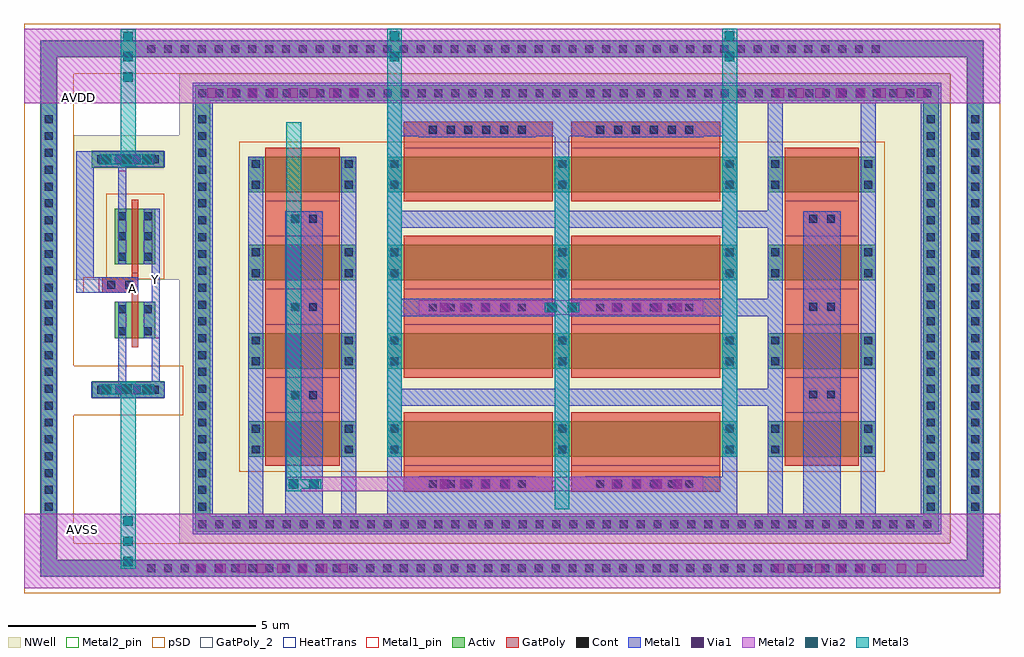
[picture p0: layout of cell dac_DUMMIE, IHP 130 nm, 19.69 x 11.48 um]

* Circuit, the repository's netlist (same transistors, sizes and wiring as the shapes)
** sch_path: /home/designer/shared/BASIC/current_generator/analog/DAC/schematics/dac_DUMMIE.sch
.subckt dac_DUMMIE AVDD AVSS
*.PININFO AVDD:B AVSS:B
MMN0 AVSS AVDD AVSS AVSS sg13_lv_nmos w=740.00n l=130.00n ng=1
MMP0 AVSS AVDD AVDD AVDD sg13_lv_pmos w=1.12u l=130.00n ng=1
MMP11 AVDD AVDD AVDD AVDD sg13_lv_pmos w=0.72u l=1.5u ng=1
MP12 AVDD AVDD AVDD AVDD sg13_lv_pmos w=0.72u l=1.5u ng=1
MP13 AVDD AVDD AVDD AVDD sg13_lv_pmos w=0.72u l=1.5u ng=1
MP14 AVDD AVDD AVDD AVDD sg13_lv_pmos w=0.72u l=1.5u ng=1
MP15 AVDD AVDD AVDD AVDD sg13_lv_pmos w=0.72u l=1.5u ng=1
MP16 AVDD AVDD AVDD AVDD sg13_lv_pmos w=0.72u l=1.5u ng=1
MP17 AVDD AVDD AVDD AVDD sg13_lv_pmos w=0.72u l=1.5u ng=1
MP18 AVDD AVDD AVDD AVDD sg13_lv_pmos w=0.72u l=1.5u ng=1
MMP51 AVDD AVDD AVDD AVDD sg13_lv_pmos w=0.72u l=3u ng=1
MP52 AVDD AVDD AVDD AVDD sg13_lv_pmos w=0.72u l=3u ng=1
MP53 AVDD AVDD AVDD AVDD sg13_lv_pmos w=0.72u l=3u ng=1
MP54 AVDD AVDD AVDD AVDD sg13_lv_pmos w=0.72u l=3u ng=1
MMP21 AVDD AVDD AVDD AVDD sg13_lv_pmos w=0.72u l=3u ng=1
MP22 AVDD AVDD AVDD AVDD sg13_lv_pmos w=0.72u l=3u ng=1
MP23 AVDD AVDD AVDD AVDD sg13_lv_pmos w=0.72u l=3u ng=1
MP24 AVDD AVDD AVDD AVDD sg13_lv_pmos w=0.72u l=3u ng=1
.ends

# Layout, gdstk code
import gdstk
lib = gdstk.Library(unit=1e-6, precision=1e-09)
def R(c, l, rs):  # rectangles x0, y0, x1, y1
    for r in rs: c.add(gdstk.rectangle(r[:2], r[2:], *l))
def A(c, l, x, y, w, h, nx, ny, dx, dy):  # array of equal rectangles
    R(c, l, [(x+i*dx, y+j*dy, x+i*dx+w, y+j*dy+h) for i in range(nx) for j in range(ny)])
def P(c, l, *ps):  # polygons
    for p in ps: c.add(gdstk.Polygon(p, *l))
Activ = (1, 0)
GatPoly = (5, 0)
GatPoly_2 = (5, 2)
Cont = (6, 0)
Metal1 = (8, 0)
Metal1_pin = (8, 2)
Metal2 = (10, 0)
Metal2_pin = (10, 2)
pSD = (14, 0)
Via1 = (19, 0)
Via2 = (29, 0)
Metal3 = (30, 0)
NWell = (31, 0)
HeatTrans = (51, 0)

pmos_1 = lib.new_cell('pmos$1')
R(pmos_1, Activ, [(0,0,0.3,0.3), (0,0,0.81,1.12), (0.51,0,0.81,0.3)])
R(pmos_1, GatPoly, [(0.34,-0.18,0.47,1.3), (0.34,-0.18,0.47,1.3)])
A(pmos_1, Cont, 0.07, 0.07, 0.16, 0.16, 1, 3, 0, 0.41)
A(pmos_1, Cont, 0.58, 0.07, 0.16, 0.16, 1, 3, 0, 0.41)
R(pmos_1, Metal1, [(0.07,0,0.23,1.12), (0.07,0,0.23,1.12), (0.58,0,0.74,1.12), (0.58,0,0.74,1.12)])
R(pmos_1, pSD, [(-0.18,-0.3,0.99,1.42)])
R(pmos_1, NWell, [(-0.31,-0.31,1.12,1.43)])
R(pmos_1, HeatTrans, [(0.34,-0.18,0.47,1.3)])
pmos_1.add(gdstk.Label('pmos', (0.405,0.56), layer=63, texttype=0))
pmos_1.add(gdstk.Label('pmos', (0.405,0.56), layer=51, texttype=0))

nmos = lib.new_cell('nmos')
R(nmos, Activ, [(0,0,0.3,0.3), (0,0,0.81,0.74), (0.51,0,0.81,0.3)])
R(nmos, GatPoly, [(0.34,-0.18,0.47,0.92)])
R(nmos, GatPoly_2, [(0.34,-0.18,0.47,0.92)])
R(nmos, Cont, [(0.07,0.07,0.23,0.23), (0.58,0.07,0.74,0.23), (0.07,0.51,0.23,0.67), (0.58,0.51,0.74,0.67)])
R(nmos, Metal1, [(0.07,0,0.23,0.74), (0.58,0,0.74,0.74)])
R(nmos, Metal1_pin, [(0.07,0,0.23,0.74), (0.58,0,0.74,0.74)])
R(nmos, HeatTrans, [(0.34,-0.18,0.47,0.92)])
nmos.add(gdstk.Label('nmos', (0.405,0.37), layer=63, texttype=0))
nmos.add(gdstk.Label('nmos', (0.405,0.37), layer=51, texttype=0))

pmos = lib.new_cell('pmos')
R(pmos, Activ, [(0,0,0.3,0.3), (0,0,3.68,0.72), (3.38,0,3.68,0.3)])
R(pmos, GatPoly, [(0.34,-0.18,3.34,0.9), (0.34,-0.18,3.34,0.9)])
R(pmos, Cont, [(0.07,0.07,0.23,0.23), (3.45,0.07,3.61,0.23), (0.07,0.49,0.23,0.65), (3.45,0.49,3.61,0.65)])
R(pmos, Metal1, [(0.07,0,0.23,0.72), (0.07,0,0.23,0.72), (3.45,0,3.61,0.72), (3.45,0,3.61,0.72)])
R(pmos, pSD, [(-0.18,-0.3,3.86,1.02)])
R(pmos, NWell, [(-0.31,-0.31,3.99,1.03)])
R(pmos, HeatTrans, [(0.34,-0.18,3.34,0.9)])
pmos.add(gdstk.Label('pmos', (1.84,0.36), layer=63, texttype=0))
pmos.add(gdstk.Label('pmos', (1.84,0.36), layer=51, texttype=0))

via_stack_4 = lib.new_cell('via_stack$4')
R(via_stack_4, Metal1, [(-0.76,-0.105,0.76,0.105)])
R(via_stack_4, Metal2, [(-0.76,-0.1,0.76,0.1)])
A(via_stack_4, Via1, -0.71, -0.095, 0.19, 0.19, 4, 1, 0.41, 0)

pmos_4 = lib.new_cell('pmos$4')
R(pmos_4, Activ, [(0,0,0.3,0.3), (0,0,2.18,0.72), (1.88,0,2.18,0.3)])
R(pmos_4, GatPoly, [(0.34,-0.18,1.84,0.9), (0.34,-0.18,1.84,0.9)])
R(pmos_4, Cont, [(0.07,0.07,0.23,0.23), (1.95,0.07,2.11,0.23), (0.07,0.49,0.23,0.65), (1.95,0.49,2.11,0.65)])
R(pmos_4, Metal1, [(0.07,0,0.23,0.72), (0.07,0,0.23,0.72), (1.95,0,2.11,0.72), (1.95,0,2.11,0.72)])
R(pmos_4, pSD, [(-0.18,-0.3,2.36,1.02)])
R(pmos_4, NWell, [(-0.31,-0.31,2.49,1.03)])
R(pmos_4, HeatTrans, [(0.34,-0.18,1.84,0.9)])
pmos_4.add(gdstk.Label('pmos', (1.09,0.36), layer=63, texttype=0))
pmos_4.add(gdstk.Label('pmos', (1.09,0.36), layer=51, texttype=0))

via_stack_6 = lib.new_cell('via_stack$6')
R(via_stack_6, Metal2, [(-0.35,-0.1,0.35,0.1)])
R(via_stack_6, Via2, [(-0.3,-0.095,-0.11,0.095), (0.11,-0.095,0.3,0.095)])
R(via_stack_6, Metal3, [(-0.35,-0.1,0.35,0.1)])

via_stack_8 = lib.new_cell('via_stack$8')
R(via_stack_8, Metal2, [(-0.1,-0.35,0.1,0.35)])
R(via_stack_8, Via2, [(-0.095,-0.3,0.095,-0.11), (-0.095,0.11,0.095,0.3)])
R(via_stack_8, Metal3, [(-0.1,-0.35,0.1,0.35)])

via_stack = lib.new_cell('via_stack')
R(via_stack, Metal1, [(-1.58,-0.105,1.58,0.105)])
R(via_stack, Metal2, [(-1.58,-0.1,1.58,0.1)])
A(via_stack, Via1, -1.53, -0.095, 0.19, 0.19, 8, 1, 0.41, 0)

guard_ring = lib.new_cell('GUARD_RING')
P(guard_ring, Activ, [(0,0),(0,8.69),(0.31,8.69),(0.31,0.31),(14.69,0.31),(14.69,8.69),(0,8.69),(0,9),(15,9),(15,0)])
A(guard_ring, Cont, 0.07, 0.07, 0.16, 0.16, 44, 2, 0.34, 8.69)
A(guard_ring, Cont, 0.07, 0.42, 0.16, 0.16, 1, 24, 0, 0.34)
A(guard_ring, Cont, 14.76, 0.42, 0.16, 0.16, 1, 24, 0, 0.34)
P(guard_ring, Metal1, [(-0.05,-0.05),(-0.05,8.64),(0.36,8.64),(0.36,0.36),(14.64,0.36),(14.64,8.64),(-0.05,8.64),(-0.05,9.05),(15.05,9.05),(15.05,-0.05)])
P(guard_ring, NWell, [(-0.24,-0.24),(-0.24,8.45),(0.55,8.45),(0.55,0.55),(14.45,0.55),(14.45,8.45),(-0.24,8.45),(-0.24,9.24),(15.24,9.24),(15.24,-0.24)])

via_stack_2 = lib.new_cell('via_stack$2')
R(via_stack_2, Metal2, [(-0.1,-0.555,0.1,0.555)])
A(via_stack_2, Via2, -0.095, -0.505, 0.19, 0.19, 1, 3, 0, 0.41)
R(via_stack_2, Metal3, [(-0.1,-0.555,0.1,0.555)])

via_stack_3 = lib.new_cell('via_stack$3')
R(via_stack_3, Metal1, [(-0.555,-0.105,0.555,0.105)])
R(via_stack_3, Metal2, [(-0.555,-0.1,0.555,0.1)])
A(via_stack_3, Via1, -0.505, -0.095, 0.19, 0.19, 3, 1, 0.41, 0)
A(via_stack_3, Via2, -0.505, -0.095, 0.19, 0.19, 3, 1, 0.41, 0)
R(via_stack_3, Metal3, [(-0.555,-0.1,0.555,0.1)])

dac_dummie = lib.new_cell('dac_DUMMIE')
R(dac_dummie, Activ, [(3.97,-1.71,5.42,-1.36), (3.965,2.94,5.415,3.29)])
A(dac_dummie, GatPoly, 7.46, -1.99, 1.5, 0.7, 1, 3, 0, 1.78)
A(dac_dummie, GatPoly, 17.94, -1.99, 1.5, 0.7, 1, 3, 0, 1.78)
A(dac_dummie, GatPoly, 7.88, -1.8, 0.73, 0.31, 1, 3, 0, 1.78)
R(dac_dummie, GatPoly, [(10.26,-3.59,13.26,-3.07), (10.56,-3.59,12.92,-3.28), (13.64,-3.59,16.64,-3.07), (13.91,-3.59,16.3,-3.28), (18.33,-1.785,19.06,-1.475), (10.26,-0.21,13.26,0.49), (13.64,-0.21,16.64,0.49), (10.56,-0.03,12.92,0.28), (13.91,-0.03,16.3,0.28), (18.33,-0.015,19.06,0.295), (4.17,0.425,4.9,0.735), (18.33,1.76,19.06,2.07), (10.26,3.35,13.26,3.87), (13.64,3.35,16.64,3.87), (10.56,3.56,12.92,3.87), (13.91,3.56,16.3,3.87)])
R(dac_dummie, GatPoly_2, [(4.77,-0.68,4.9,2.3)])
A(dac_dummie, Cont, 5.08, -5.215, 0.16, 0.16, 44, 2, 0.34, 10.475)
A(dac_dummie, Cont, 3.015, -3.975, 0.16, 0.16, 1, 24, 0, 0.34)
A(dac_dummie, Cont, 21.71, -3.975, 0.16, 0.16, 1, 24, 0, 0.34)
A(dac_dummie, Cont, 10.76, -3.515, 0.16, 0.16, 6, 2, 0.36, 3.56)
A(dac_dummie, Cont, 14.14, -3.515, 0.16, 0.16, 6, 2, 0.36, 3.56)
A(dac_dummie, Cont, 7.985, -1.725, 0.16, 0.16, 1, 3, 0, 1.78)
A(dac_dummie, Cont, 8.345, -1.725, 0.16, 0.16, 1, 3, 0, 1.78)
A(dac_dummie, Cont, 4.075, -1.615, 0.16, 0.16, 4, 1, 0.36, 0)
A(dac_dummie, Cont, 4.07, 3.035, 0.16, 0.16, 4, 1, 0.36, 0)
A(dac_dummie, Cont, 10.76, 3.635, 0.16, 0.16, 6, 1, 0.36, 0)
A(dac_dummie, Cont, 14.14, 3.635, 0.16, 0.16, 6, 1, 0.36, 0)
R(dac_dummie, Cont, [(18.435,-1.71,18.595,-1.55), (18.795,-1.71,18.955,-1.55), (18.435,0.06,18.595,0.22), (18.795,0.06,18.955,0.22), (4.275,0.5,4.435,0.66), (4.635,0.5,4.795,0.66), (18.435,1.835,18.595,1.995), (18.795,1.835,18.955,1.995)])
A(dac_dummie, Metal1, 9.92, -4.38, 0.3, 8.815, 3, 1, 3.38, 0)
A(dac_dummie, Metal1, 7.88, -1.8, 0.73, 0.31, 1, 3, 0, 1.78)
R(dac_dummie, Metal1, [(17.6,-4.38,17.9,4.435), (19.48,-4.38,19.78,4.435), (10.025,-4.32,16.85,-3.39), (10.08,-4.02,16.795,-3.285), (10.56,-3.59,12.92,-3.28), (13.91,-3.59,16.3,-3.28), (10.115,-1.86,17.9,-1.51), (18.33,-1.785,19.06,-1.475), (3.955,-1.695,5.435,-1.375), (5.17,-1.685,5.33,2.06), (5.17,-0.5,5.33,2.12), (10.115,-0.05,17.9,0.3), (10.56,-0.03,12.92,0.28), (13.91,-0.03,16.3,0.28), (18.33,-0.015,19.06,0.295), (3.645,0.425,4,3.275), (4.17,0.425,4.9,0.735), (10.115,1.73,17.9,2.08), (14.815,1.75,17.205,2.06), (18.33,1.76,19.06,2.07), (4.5,2.88,4.66,3.275), (3.95,2.955,5.43,3.275), (10.56,3.56,12.92,3.87), (13.91,3.56,16.3,3.87), (10.08,3.575,16.795,4.31)])
R(dac_dummie, Metal1_pin, [(4.5,-1.695,4.66,0.24), (5.17,-0.5,5.33,2.12), (5.17,-0.5,5.33,2.12), (3.79,0.425,4.11,0.735), (4.5,1,4.66,2.885)])
R(dac_dummie, Metal2_pin, [(2.595,-5.535,22.285,-4.035), (2.595,4.245,22.285,5.745)])
R(dac_dummie, pSD, [(6.94,-3.19,19.96,3.47), (3.595,-2.045,3.6,-1.045), (3.6,-2.045,5.81,-1.045)])
R(dac_dummie, NWell, [(5.725,-4.635,6.05,4.845), (5.805,-4.635,21.285,4.845), (3.595,0.69,5.805,3.605)])
dac_dummie.add(gdstk.FlexPath([(21.785,-5.135),(21.785,5.345),(3.095,5.345),(3.095,-5.135),(21.96,-5.135)], 0.35, ends="flush", simple_path=True, layer=1, datatype=0))  # Activ
dac_dummie.add(gdstk.FlexPath([(4.835,0.42),(4.835,0.825)], 0.13, ends="flush", simple_path=True, layer=5, datatype=0))  # GatPoly
dac_dummie.add(gdstk.FlexPath([(4.9,0.58),(3.79,0.58)], 0.31, ends="flush", simple_path=True, layer=8, datatype=0))  # Metal1
dac_dummie.add(gdstk.FlexPath([(4.58,0.24),(4.58,-1.695)], 0.16, ends="flush", simple_path=True, layer=8, datatype=0))  # Metal1
dac_dummie.add(gdstk.FlexPath([(4.58,2.885),(4.58,2.12)], 0.16, ends="flush", simple_path=True, layer=8, datatype=0))  # Metal1
dac_dummie.add(gdstk.FlexPath([(16.83,-1.11),(16.83,2.075)], 0.3, ends="flush", simple_path=True, layer=8, datatype=0))  # Metal1
dac_dummie.add(gdstk.FlexPath([(10.07,-1.11),(10.07,2.075)], 0.3, ends="flush", simple_path=True, layer=8, datatype=0))  # Metal1
dac_dummie.add(gdstk.FlexPath([(3.79,0.425),(3.79,3.275)], 0.29, ends="flush", simple_path=True, layer=8, datatype=0))  # Metal1
dac_dummie.add(gdstk.FlexPath([(19.63,3.17),(19.63,-4.445)], 0.3, ends="flush", simple_path=True, layer=8, datatype=0))  # Metal1
dac_dummie.add(gdstk.FlexPath([(17.75,3.17),(17.75,-4.445)], 0.3, ends="flush", simple_path=True, layer=8, datatype=0))  # Metal1
dac_dummie.add(gdstk.FlexPath([(9.15,3.17),(9.15,-4.445)], 0.3, ends="flush", simple_path=True, layer=8, datatype=0))  # Metal1
dac_dummie.add(gdstk.FlexPath([(7.27,3.17),(7.27,-4.445)], 0.3, ends="flush", simple_path=True, layer=8, datatype=0))  # Metal1
dac_dummie.add(gdstk.FlexPath([(8.245,-4.445),(8.245,2.07)], 0.75, ends="flush", simple_path=True, layer=8, datatype=0))  # Metal1
dac_dummie.add(gdstk.FlexPath([(18.695,-4.445),(18.695,2.07)], 0.75, ends="flush", simple_path=True, layer=8, datatype=0))  # Metal1
dac_dummie.add(gdstk.FlexPath([(21.785,-5.135),(21.785,5.345),(3.095,5.345),(3.095,-5.135),(21.945,-5.135)], 0.32, ends="flush", simple_path=True, layer=8, datatype=0))  # Metal1
dac_dummie.add(gdstk.FlexPath([(16.83,-1.11),(16.83,2.075)], 0.3, ends="flush", simple_path=True, layer=8, datatype=0))  # Metal1
dac_dummie.add(gdstk.FlexPath([(21.785,-5.635),(21.785,5.345),(3.095,5.345),(3.095,-5.135),(22.285,-5.135)], 1, ends="flush", simple_path=True, layer=14, datatype=0))  # pSD
dac_dummie.add(gdstk.FlexPath([(16.3,0.125),(10.56,0.125)], 0.3, ends="flush", simple_path=True, layer=10, datatype=0))  # Metal2
dac_dummie.add(gdstk.FlexPath([(2.595,4.995),(22.285,4.995)], 1.5, ends="flush", simple_path=True, layer=10, datatype=0))  # Metal2
dac_dummie.add(gdstk.FlexPath([(7.89,-3.435),(16.3,-3.435)], 0.3, ends="flush", simple_path=True, layer=10, datatype=0))  # Metal2
dac_dummie.add(gdstk.FlexPath([(2.595,-4.785),(22.285,-4.785)], 1.5, ends="flush", simple_path=True, layer=10, datatype=0))  # Metal2
dac_dummie.add(gdstk.FlexPath([(13.45,-3.94),(13.45,3.17)], 0.3, ends="flush", simple_path=True, layer=30, datatype=0))  # Metal3
dac_dummie.add(gdstk.FlexPath([(10.07,-2.89),(10.07,5.745)], 0.3, ends="flush", simple_path=True, layer=30, datatype=0))  # Metal3
dac_dummie.add(gdstk.FlexPath([(16.83,-2.89),(16.83,5.745)], 0.3, ends="flush", simple_path=True, layer=30, datatype=0))  # Metal3
dac_dummie.add(gdstk.FlexPath([(8.04,-3.58),(8.04,3.86)], 0.3, ends="flush", simple_path=True, layer=30, datatype=0))  # Metal3
dac_dummie.add(gdstk.FlexPath([(4.695,2.97),(4.695,5.74)], 0.3, ends="flush", simple_path=True, layer=30, datatype=0))  # Metal3
dac_dummie.add(gdstk.FlexPath([(4.695,-5.145),(4.695,-1.375)], 0.3, ends="flush", simple_path=True, layer=30, datatype=0))  # Metal3
dac_dummie.add(gdstk.Reference(pmos_1, (4.43,1)))
dac_dummie.add(gdstk.Reference(nmos, (4.43,-0.5)))
dac_dummie.add(gdstk.Reference(pmos, (9.92,0.67)))
dac_dummie.add(gdstk.Reference(pmos, (13.3,0.67)))
dac_dummie.add(gdstk.Reference(pmos, (9.92,-1.11)))
dac_dummie.add(gdstk.Reference(pmos, (13.3,-1.11)))
dac_dummie.add(gdstk.Reference(via_stack_4, (15.16,0.125)))
dac_dummie.add(gdstk.Reference(pmos_4, (7.12,2.45)))
dac_dummie.add(gdstk.Reference(pmos, (9.92,2.45)))
dac_dummie.add(gdstk.Reference(pmos, (13.3,2.45)))
dac_dummie.add(gdstk.Reference(pmos, (9.92,-2.89)))
dac_dummie.add(gdstk.Reference(pmos, (13.3,-2.89)))
dac_dummie.add(gdstk.Reference(pmos_4, (17.6,2.45)))
dac_dummie.add(gdstk.Reference(via_stack_4, (11.695,0.125)))
dac_dummie.add(gdstk.Reference(pmos_4, (17.6,0.67)))
dac_dummie.add(gdstk.Reference(pmos_4, (17.6,-1.11)))
dac_dummie.add(gdstk.Reference(pmos_4, (17.6,-2.89)))
dac_dummie.add(gdstk.Reference(pmos_4, (7.12,0.67)))
dac_dummie.add(gdstk.Reference(pmos_4, (7.12,-1.11)))
dac_dummie.add(gdstk.Reference(pmos_4, (7.12,-2.89)))
dac_dummie.add(gdstk.Reference(via_stack_6, (13.45,0.125)))
dac_dummie.add(gdstk.Reference(via_stack_4, (15.16,-3.435)))
dac_dummie.add(gdstk.Reference(via_stack_4, (11.695,-3.435)))
dac_dummie.add(gdstk.Reference(via_stack_6, (8.24,-3.435)))
dac_dummie.add(gdstk.Reference(via_stack_8, (16.83,5.395)))
dac_dummie.add(gdstk.Reference(via_stack_8, (10.07,5.395)))
dac_dummie.add(gdstk.Reference(via_stack, (19.27,4.45)))
dac_dummie.add(gdstk.Reference(via_stack, (7.82,4.45)))
dac_dummie.add(gdstk.Reference(guard_ring, (6.045,-4.395)))
dac_dummie.add(gdstk.Reference(via_stack_2, (4.695,5.185)))
dac_dummie.add(gdstk.Reference(via_stack_3, (4.67,3.115)))
dac_dummie.add(gdstk.Reference(via_stack_2, (4.695,-4.59)))
dac_dummie.add(gdstk.Reference(via_stack_3, (4.67,-1.52)))
dac_dummie.add(gdstk.Reference(via_stack, (19.27,-5.135)))
dac_dummie.add(gdstk.Reference(via_stack, (7.595,-5.135)))
dac_dummie.add(gdstk.Label('Y', (5.25,0.7), layer=8, texttype=2))
dac_dummie.add(gdstk.Label('A', (4.785,0.5), layer=5, texttype=2))
dac_dummie.add(gdstk.Label('AVDD', (3.7,4.365), layer=10, texttype=25))
dac_dummie.add(gdstk.Label('AVSS', (3.785,-4.345), layer=10, texttype=25))

lib.write_gds('dac_DUMMIE.gds')
